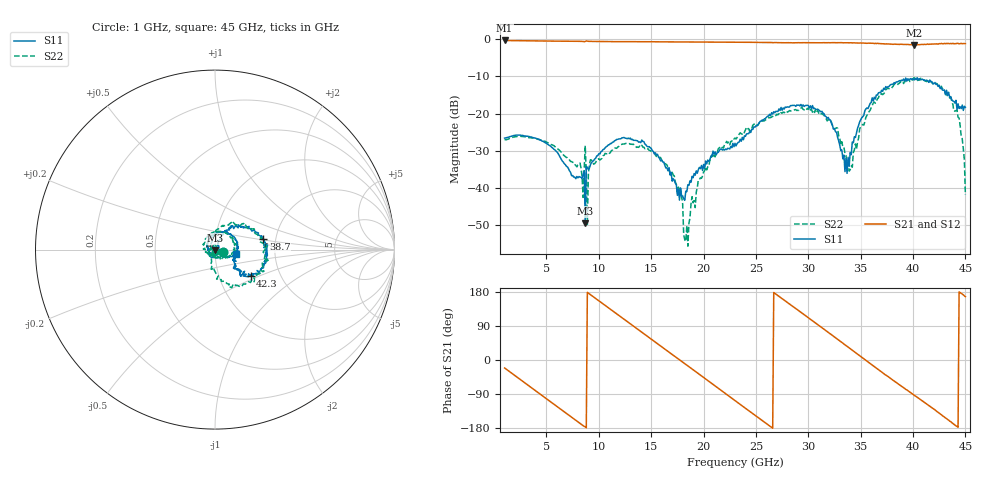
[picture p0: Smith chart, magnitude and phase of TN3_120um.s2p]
!Keysight Technologies,N5247B,MY61255062,A.19.80.06
!Date: Monday, May 18, 2026 12:13:01
!Correction: S11(Cdelta 2-Port  )
!S21(Cdelta 2-Port  )
!S12(Cdelta 2-Port  )
!S22(Cdelta 2-Port  )
!S2P File: Measurements: S11, S21, S12, S22:
# Hz S  dB  R 50
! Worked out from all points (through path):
!   441 points, 1 GHz to 45 GHz, reference 50 ohm
!   highest |S21| = -0.42 dB at 1 GHz (marker M1); lowest = -1.6 dB at 40.1 GHz (marker M2)
!   group delay of S21, straight-line fit = 56.2 ps
!   lowest |S11| = -49.5 dB at 8.7 GHz (marker M3), VSWR 1.01, Z = 50.1 - j0.325 ohm
!   |S11| at or under -10 dB: start of sweep to end of sweep
!   |S22| runs from -55.6 to -10.4 dB; largest |S21 - S12| = 0.019
!   S11 on the Smith chart (normalised r, x): 1 GHz: 1.09, -0.02; 38.7 GHz: 1.72, +0.21; 42.3 GHz: 1.41, -0.44; 45 GHz: 1.27, -0.06
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1e9  -26.59 -14.0  -0.42 -21.1  -0.42 -21.1  -26.95 -15.7
4.6e9  -27.44 -95.0  -0.57 -94.2  -0.57 -94.3  -27.27 -94.3
8.4e9  -37.41 -82.4  -0.67 -171.5  -0.67 -171.5  -37.01 -104.0
8.7e9  -49.46 -74.9  -0.68 -176.1  -0.68 -176.1  -28.62 91.6
9.3e9  -33.16 -71.9  -0.67 170.3  -0.67 170.3  -32.50 -104.5
1.25e10  -26.60 -118.0  -0.74 105.8  -0.75 105.8  -28.09 -129.5
1.57e10  -31.73 173.0  -0.78 40.8  -0.78 40.8  -31.53 178.7
1.78e10  -40.02 57.5  -0.83 -1.5  -0.83 -1.6  -40.02 144.9
1.83e10  -40.83 8.6  -0.83 -11.6  -0.84 -11.6  -54.30 86.4
1.97e10  -34.79 -51.2  -0.82 -40.0  -0.82 -40.0  -37.24 -76.0
2.3e10  -27.98 -176.8  -0.86 -107.1  -0.86 -107.2  -26.58 -152.2
2.67e10  -19.51 73.8  -0.99 178.0  -0.99 178.0  -20.60 102.8
3.04e10  -17.87 -4.2  -1.05 103.5  -1.04 103.4  -19.64 7.5
3.27e10  -25.05 -33.4  -1.02 56.6  -1.03 56.5  -23.82 -55.4
3.37e10  -36.04 18.6  -1.05 35.9  -1.05 36.1  -33.56 -122.3
3.53e10  -20.45 61.0  -1.13 3.2  -1.15 3.1  -23.11 99.8
3.77e10  -12.78 26.8  -1.35 -45.4  -1.36 -45.8  -13.35 40.7
3.87e10  -11.20 12.0  -1.49 -65.4  -1.48 -65.3  -11.91 17.0
4.01e10  -11.01 -5.2  -1.61 -92.9  -1.50 -92.9  -10.39 -12.2
4.23e10  -12.17 -36.4  -1.33 -136.4  -1.37 -136.4  -11.99 -55.6
4.43e10  -17.42 -29.0  -1.21 -177.4  -1.22 -177.9  -20.98 -101.0
4.5e10  -18.33 -10.8  -1.25 167.1  -1.22 167.2  -41.84 -98.6
